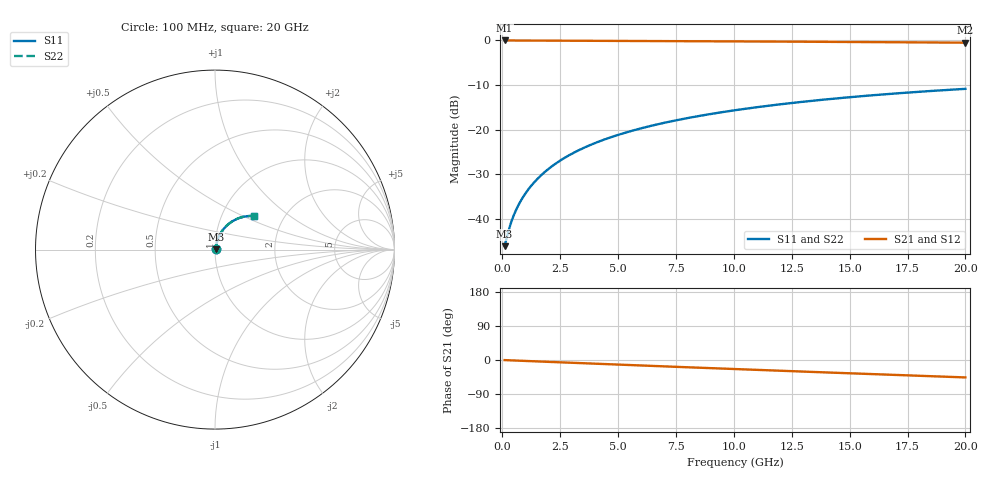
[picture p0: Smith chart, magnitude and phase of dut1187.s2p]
! Touchstone file exported from HFSS 2026.1.0
!  File:  C:/ffzhzh/LocalFiles/Ansys_Project_Files/temp_train_BSMRDL_1187_1783176239_43440.aedt
!  Generated:  10:45:09 PM Jul  4, 2026
!  Design:  BSMRDL
!  Project:  temp_train_BSMRDL_1187_1783176239_43440
! Variables:
!  h_bsmrdl = 3.83um
!  h_ox = 20um
!  h_rdl = 5um
!  h_sub = 80um
!  h_tmrdl = 5um
!  h_tsv = 80um
!  h_via = 3um
!  l_bsmrdl = 770.71um
!  l_sub = 1170.71um
!  l_tmrdl = 200um
!  m_sub = 200um
!  pitch = 28.05um
!  r_tsv = 6um
!  s_tmrdl = 10um
!  w_bsmrdl = 16.34um
!  w_sub = 500um
!  w_tmrdl = 12um
!  x_tsv_center1 = 206um
!  x_tsv_center2 = 993.05um
!  x_tsv_center3 = 1205.05um
!  x_tsv_center4 = 1992.1um
!  x_tsv_center5 = 2204.1um
!  x_tsv_center6 = 2991.15um
# GHz S MA R 50.000000
! Terminal data exported
! Port[1] = BSM_RDL1_1_T1
! Port[2] = BSM_RDL1_1_T2
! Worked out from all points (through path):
!   200 points, 100 MHz to 20 GHz, reference 50 ohm
!   highest |S21| = -0.04 dB at 100 MHz (marker M1); lowest = -0.5 dB at 20 GHz (marker M2)
!   group delay of S21, straight-line fit = 6.38 ps
!   lowest |S11| = -46.1 dB at 100 MHz (marker M3), VSWR 1.01, Z = 50.5 + j0.214 ohm
!   |S11| at or under -10 dB: start of sweep to end of sweep
!   |S22| runs from -46.1 to -10.9 dB; largest |S21 - S12| = 2.1e-15
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0.1  0.004976 25.3  0.9955 -0.3  0.9955 -0.3  0.004976 25.3
! Gamma 0 0 0 0
! Port Impedance 50 0 50 0
0.3  0.007864 50.3  0.995 -0.8  0.995 -0.8  0.007863 50.3
0.4  0.009483 55.9  0.9948 -1.0  0.9948 -1.0  0.009482 55.9
0.5  0.01111 59.9  0.9946 -1.3  0.9946 -1.3  0.01111 59.9
0.6  0.01273 62.9  0.9945 -1.5  0.9945 -1.5  0.01273 62.9
0.8  0.01602 67.0  0.9942 -2.0  0.9942 -2.0  0.01602 67.1
1  0.01936 69.8  0.994 -2.5  0.994 -2.5  0.01936 69.8
1.2  0.02274 71.7  0.9938 -3.0  0.9938 -3.0  0.02274 71.7
1.4  0.02615 73.0  0.9936 -3.5  0.9936 -3.5  0.02615 73.0
1.7  0.03131 74.2  0.9933 -4.2  0.9933 -4.2  0.03131 74.2
2.2  0.03995 75.1  0.9927 -5.4  0.9927 -5.4  0.03995 75.1
2.8  0.0503 75.1  0.9918 -6.9  0.9918 -6.9  0.0503 75.1
3.5  0.06229 74.5  0.9905 -8.5  0.9905 -8.5  0.06229 74.5
4.2  0.07412 73.4  0.9891 -10.2  0.9891 -10.2  0.07412 73.5
5  0.08741 72.0  0.9873 -12.1  0.9873 -12.1  0.08741 72.0
5.9  0.102 70.2  0.985 -14.3  0.985 -14.3  0.102 70.3
6.8  0.1163 68.4  0.9826 -16.4  0.9826 -16.4  0.1163 68.4
8.3  0.1394 65.2  0.9783 -19.9  0.9783 -19.9  0.1394 65.2
10.1  0.1657 61.4  0.9729 -24.0  0.9729 -24.0  0.1658 61.4
13.4  0.2106 54.4  0.9623 -31.5  0.9623 -31.5  0.2107 54.4
16.7  0.2509 47.4  0.9514 -38.8  0.9514 -38.8  0.251 47.5
20  0.2862 40.6  0.9406 -46.0  0.9406 -46.0  0.2863 40.7
